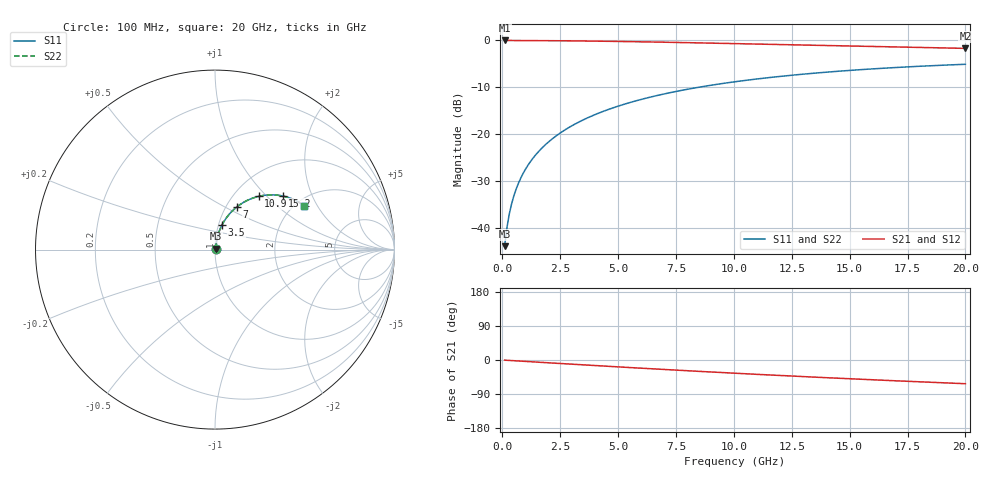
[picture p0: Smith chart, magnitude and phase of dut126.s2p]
! Touchstone file exported from HFSS 2026.1.0
!  File:  C:/ffzhzh/LocalFiles/Ansys_Project_Files/temp_train_BSMRDL_126_1782986135_6248.aedt
!  Generated:  05:57:09 PM Jul  2, 2026
!  Design:  BSMRDL
!  Project:  temp_train_BSMRDL_126_1782986135_6248
! Variables:
!  h_bsmrdl = 3.63um
!  h_ox = 20um
!  h_rdl = 5um
!  h_sub = 80um
!  h_tmrdl = 5um
!  h_tsv = 80um
!  h_via = 3um
!  l_bsmrdl = 962.96um
!  l_sub = 1362.96um
!  l_tmrdl = 200um
!  m_sub = 200um
!  pitch = 56.81um
!  r_tsv = 6um
!  s_tmrdl = 10um
!  w_bsmrdl = 21.57um
!  w_sub = 500um
!  w_tmrdl = 12um
!  x_tsv_center1 = 206um
!  x_tsv_center2 = 1190.53um
!  x_tsv_center3 = 1402.53um
!  x_tsv_center4 = 2387.06um
!  x_tsv_center5 = 2599.06um
!  x_tsv_center6 = 3583.59um
# GHz S MA R 50.000000
! Terminal data exported
! Port[1] = BSM_RDL1_1_T1
! Port[2] = BSM_RDL1_1_T2
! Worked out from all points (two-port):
!   200 points, 100 MHz to 20 GHz, reference 50 ohm
!   highest |S21| = -0.04 dB at 100 MHz (marker M1); lowest = -1.7 dB at 20 GHz (marker M2)
!   |S21| within 3 dB of the highest: start of sweep to end of sweep
!   lowest |S11| = -44.0 dB at 100 MHz (marker M3), VSWR 1.01, Z = 50.5 + j0.444 ohm
!   |S11| at or under -10 dB: start of sweep to 8.527 GHz
!   |S22| runs from -44.0 to -5.1 dB; largest |S21 - S12| = 4.4e-15
!   S11 on the Smith chart (normalised r, x): 100 MHz: 1.01, +0.01; 3.5 GHz: 1.04, +0.29; 7 GHz: 1.12, +0.58; 10.9 GHz: 1.29, +0.90; 15.2 GHz: 1.61, +1.25; 20 GHz: 2.22, +1.56
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0.1  0.00632 44.1  0.9955 -0.4  0.9955 -0.4  0.00632 44.1
! Gamma 0 0 0 0
! Port Impedance 50 0 50 0
0.2  0.009938 61.0  0.9953 -0.8  0.9953 -0.8  0.009938 61.0
0.3  0.01386 68.1  0.995 -1.1  0.995 -1.1  0.01386 68.1
0.4  0.01783 71.8  0.9947 -1.5  0.9947 -1.5  0.01783 71.8
0.5  0.02181 74.2  0.9945 -1.9  0.9945 -1.9  0.02181 74.2
0.6  0.0258 75.8  0.9943 -2.3  0.9943 -2.3  0.0258 75.8
0.8  0.03382 77.6  0.9939 -3.0  0.9939 -3.0  0.03382 77.6
1.1  0.04591 78.8  0.9933 -4.1  0.9933 -4.1  0.04591 78.8
1.5  0.06207 79.0  0.9922 -5.6  0.9922 -5.6  0.06207 79.0
2.1  0.0862 78.1  0.9901 -7.8  0.9901 -7.8  0.08621 78.1
2.7  0.1101 76.6  0.9873 -10.0  0.9873 -10.0  0.1101 76.6
3.5  0.1414 74.2  0.9828 -12.9  0.9828 -12.9  0.1414 74.2
5  0.1978 69.4  0.9719 -18.2  0.9719 -18.2  0.1978 69.4
6.8  0.2609 63.5  0.9556 -24.4  0.9556 -24.4  0.2609 63.5
7  0.2676 62.8  0.9536 -25.0  0.9536 -25.0  0.2676 62.8
8.5  0.3154 58.0  0.9381 -30.0  0.9381 -30.0  0.3154 58.0
10.1  0.362 53.1  0.9205 -35.1  0.9205 -35.1  0.362 53.1
10.9  0.3836 50.7  0.9115 -37.6  0.9115 -37.6  0.3836 50.7
13.4  0.4437 43.4  0.8836 -45.0  0.8836 -45.0  0.4437 43.4
15.2  0.4804 38.5  0.8642 -50.1  0.8642 -50.1  0.4804 38.4
16.7  0.507 34.5  0.849 -54.1  0.849 -54.1  0.507 34.5
20  0.554 26.2  0.8196 -62.6  0.8196 -62.6  0.5541 26.2
